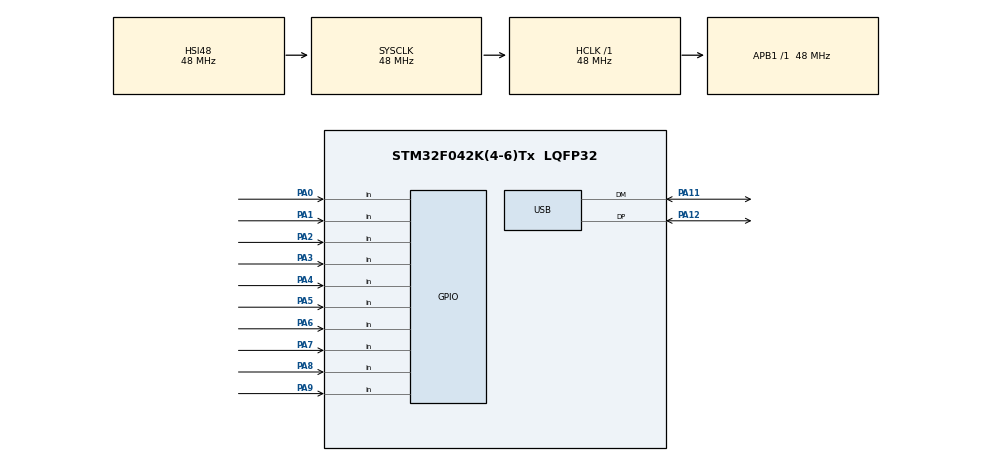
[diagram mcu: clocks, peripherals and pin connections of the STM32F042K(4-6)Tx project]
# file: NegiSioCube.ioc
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Mcu.Family=STM32F0
Mcu.Name=STM32F042K(4-6)Tx
Mcu.Package=LQFP32
NVIC.USB_IRQn=true\:0\:0\:false\:false\:true\:false
PA0.GPIO_PuPd=GPIO_PULLUP
PA0.Signal=GPIO_Input
PA1.GPIO_PuPd=GPIO_PULLUP
PA1.Signal=GPIO_Input
PA11.Mode=Device
PA11.Signal=USB_DM
PA12.Mode=Device
PA12.Signal=USB_DP
PA2.GPIO_PuPd=GPIO_PULLUP
PA2.Signal=GPIO_Input
PA3.GPIO_PuPd=GPIO_PULLUP
PA3.Signal=GPIO_Input
PA4.GPIO_PuPd=GPIO_PULLUP
PA4.Signal=GPIO_Input
PA5.GPIO_PuPd=GPIO_PULLUP
PA5.Signal=GPIO_Input
PA6.GPIO_PuPd=GPIO_PULLUP
PA6.Signal=GPIO_Input
PA7.GPIO_PuPd=GPIO_PULLUP
PA7.Signal=GPIO_Input
PA8.GPIO_PuPd=GPIO_PULLUP
PA8.Signal=GPIO_Input
PA9.GPIO_PuPd=GPIO_PULLUP
PA9.Signal=GPIO_Input
ProjectManager.HeapSize=0x200
ProjectManager.StackSize=0x400
ProjectManager.TargetToolchain=SW4STM32
RCC.AHBFreq_Value=48000000
RCC.APB1Freq_Value=48000000
RCC.APB1TimFreq_Value=48000000
RCC.HCLKFreq_Value=48000000
RCC.SYSCLKFreq_VALUE=48000000
RCC.SYSCLKSource=RCC_SYSCLKSOURCE_HSI48
USB_DEVICE.CLASS_NAME_FS=CUSTOMHID
USB_DEVICE.MANUFACTURER_STRING=JJ
USB_DEVICE.PID_CUSTOMHID_FS=0x5500
USB_DEVICE.PRODUCT_STRING_CUSTOMHID_FS=NEOGEO mini Game Pad
USB_DEVICE.USBD_SELF_POWERED=0
USB_DEVICE.VID=0x20bc
USB_DEVICE.VirtualMode=CustomHid
USB_DEVICE.VirtualModeFS=Custom_Hid_FS
VP_RCC_USB.Mode=CRS SYNC Source USB
VP_USB_DEVICE_VS_USB_DEVICE_CUSTOM_HID_FS.Mode=CUSTOM_HID_FS
board=custom

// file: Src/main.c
/* USER CODE BEGIN Header */
/**
  ******************************************************************************
  * @file           : main.c
  * @brief          : Main program body
  ******************************************************************************
  * This notice applies to any and all portions of this file
  * that are not between comment pairs USER CODE BEGIN and
  * USER CODE END. Other portions of this file, whether
  * inserted by the user or by software development tools
  * are owned by their respective copyright owners.
  *
  * Copyright (c) 2018 STMicroelectronics International N.V.
  * All rights reserved.
  *
  * Redistribution and use in source and binary forms, with or without
  * modification, are permitted, provided that the following conditions are met:
  *
  * 1. Redistribution of source code must retain the above copyright notice,
  *    this list of conditions and the following disclaimer.
  * 2. Redistributions in binary form must reproduce the above copyright notice,
  *    this list of conditions and the following disclaimer in the documentation
  *    and/or other materials provided with the distribution.
  * 3. Neither the name of STMicroelectronics nor the names of other
  *    contributors to this software may be used to endorse or promote products
  *    derived from this software without specific written permission.
  * 4. This software, including modifications and/or derivative works of this
  *    software, must execute solely and exclusively on microcontroller or
  *    microprocessor devices manufactured by or for STMicroelectronics.
  * 5. Redistribution and use of this software other than as permitted under
  *    this license is void and will automatically terminate your rights under
  *    this license.
  *
  * THIS SOFTWARE IS PROVIDED BY STMICROELECTRONICS AND CONTRIBUTORS "AS IS"
  * AND ANY EXPRESS, IMPLIED OR STATUTORY WARRANTIES, INCLUDING, BUT NOT
  * LIMITED TO, THE IMPLIED WARRANTIES OF MERCHANTABILITY, FITNESS FOR A
  * PARTICULAR PURPOSE AND NON-INFRINGEMENT OF THIRD PARTY INTELLECTUAL PROPERTY
  * RIGHTS ARE DISCLAIMED TO THE FULLEST EXTENT PERMITTED BY LAW. IN NO EVENT
  * SHALL STMICROELECTRONICS OR CONTRIBUTORS BE LIABLE FOR ANY DIRECT, INDIRECT,
  * INCIDENTAL, SPECIAL, EXEMPLARY, OR CONSEQUENTIAL DAMAGES (INCLUDING, BUT NOT
  * LIMITED TO, PROCUREMENT OF SUBSTITUTE GOODS OR SERVICES; LOSS OF USE, DATA,
  * OR PROFITS; OR BUSINESS INTERRUPTION) HOWEVER CAUSED AND ON ANY THEORY OF
  * LIABILITY, WHETHER IN CONTRACT, STRICT LIABILITY, OR TORT (INCLUDING
  * NEGLIGENCE OR OTHERWISE) ARISING IN ANY WAY OUT OF THE USE OF THIS SOFTWARE,
  * EVEN IF ADVISED OF THE POSSIBILITY OF SUCH DAMAGE.
  *
  ******************************************************************************
  */
/* USER CODE END Header */

#include "main.h"
#include "usb_device.h"

/* USER CODE BEGIN Includes */
#include "usbd_custom_hid_if.h"

/* USER CODE END Includes */

/* USER CODE BEGIN PD */
// If USE_SWD_PRINTF is defined, the target device will not work without
// ST-Link connected via SWD.
//#define USE_SWD_PRINTF

/* USER CODE END PD */

void SystemClock_Config(void);
static void MX_GPIO_Init(void);
/* USER CODE BEGIN PFP */
extern void initialise_monitor_handles(void);
extern USBD_HandleTypeDef hUsbDeviceFS;
/* USER CODE END PFP */

int main(void)
{
  /* USER CODE BEGIN 1 */
#ifdef USE_SWD_PRINTF
  initialise_monitor_handles();
#endif

  /* USER CODE END 1 */

  /* MCU Configuration--------------------------------------------------------*/

  /* Reset of all peripherals, Initializes the Flash interface and the Systick. */
  HAL_Init();

  /* Configure the system clock */
  SystemClock_Config();

  /* Initialize all configured peripherals */
  MX_GPIO_Init();
  MX_USB_DEVICE_Init();

  /* Infinite loop */
  /* USER CODE BEGIN WHILE */
  while (1)
  {
    static uint8_t report[8] = { 0x00, 0x00, 0x0f, 0x00, 0x00, 0x00, 0x00, 0x00 };
    HAL_Delay(4);
    uint32_t a = GPIOA->IDR;
    report[0] = ~(((a & 0x00c0) >> 6) | ((a & 0x0300) >> 5) | 0xe4);
    report[1] = ~(((a & 0x0003) << 2) | 0xf3);
    switch (~a & 0x3c) {
      case 0x04: report[2] = 0; break;
      case 0x24: report[2] = 1; break;
      case 0x20: report[2] = 2; break;
      case 0x28: report[2] = 3; break;
      case 0x08: report[2] = 4; break;
      case 0x18: report[2] = 5; break;
      case 0x10: report[2] = 6; break;
      case 0x14: report[2] = 7; break;
      default: report[2] = 0x0f; break;
    }
    USBD_CUSTOM_HID_SendReport(&hUsbDeviceFS, report, 8);
    /* USER CODE END WHILE */

  }
}

void SystemClock_Config(void)
{
  RCC_OscInitTypeDef RCC_OscInitStruct = {0};
  RCC_ClkInitTypeDef RCC_ClkInitStruct = {0};
  RCC_PeriphCLKInitTypeDef PeriphClkInit = {0};
  RCC_CRSInitTypeDef RCC_CRSInitStruct = {0};

  /**Initializes the CPU, AHB and APB busses clocks
  */
  RCC_OscInitStruct.OscillatorType = RCC_OSCILLATORTYPE_HSI48;
  RCC_OscInitStruct.HSI48State = RCC_HSI48_ON;
  RCC_OscInitStruct.PLL.PLLState = RCC_PLL_NONE;
  if (HAL_RCC_OscConfig(&RCC_OscInitStruct) != HAL_OK)
  {
    Error_Handler();
  }
  /**Initializes the CPU, AHB and APB busses clocks
  */
  RCC_ClkInitStruct.ClockType = RCC_CLOCKTYPE_HCLK|RCC_CLOCKTYPE_SYSCLK
                              |RCC_CLOCKTYPE_PCLK1;
  RCC_ClkInitStruct.SYSCLKSource = RCC_SYSCLKSOURCE_HSI48;
  RCC_ClkInitStruct.AHBCLKDivider = RCC_SYSCLK_DIV1;
  RCC_ClkInitStruct.APB1CLKDivider = RCC_HCLK_DIV1;

  if (HAL_RCC_ClockConfig(&RCC_ClkInitStruct, FLASH_LATENCY_1) != HAL_OK)
  {
    Error_Handler();
  }
  PeriphClkInit.PeriphClockSelection = RCC_PERIPHCLK_USB;
  PeriphClkInit.UsbClockSelection = RCC_USBCLKSOURCE_HSI48;

  if (HAL_RCCEx_PeriphCLKConfig(&PeriphClkInit) != HAL_OK)
  {
    Error_Handler();
  }
  /**Enable the SYSCFG APB clock
  */
  __HAL_RCC_CRS_CLK_ENABLE();
  /**Configures CRS
  */
  RCC_CRSInitStruct.Prescaler = RCC_CRS_SYNC_DIV1;
  RCC_CRSInitStruct.Source = RCC_CRS_SYNC_SOURCE_USB;
  RCC_CRSInitStruct.Polarity = RCC_CRS_SYNC_POLARITY_RISING;
  RCC_CRSInitStruct.ReloadValue = __HAL_RCC_CRS_RELOADVALUE_CALCULATE(48000000,1000);
  RCC_CRSInitStruct.ErrorLimitValue = 34;
  RCC_CRSInitStruct.HSI48CalibrationValue = 32;

  HAL_RCCEx_CRSConfig(&RCC_CRSInitStruct);
}

static void MX_GPIO_Init(void)
{
  GPIO_InitTypeDef GPIO_InitStruct = {0};

  /* GPIO Ports Clock Enable */
  __HAL_RCC_GPIOA_CLK_ENABLE();

  /*Configure GPIO pins : PA0 PA1 PA2 PA3
                           PA4 PA5 PA6 PA7
                           PA8 PA9 */
  GPIO_InitStruct.Pin = GPIO_PIN_0|GPIO_PIN_1|GPIO_PIN_2|GPIO_PIN_3
                          |GPIO_PIN_4|GPIO_PIN_5|GPIO_PIN_6|GPIO_PIN_7
                          |GPIO_PIN_8|GPIO_PIN_9;
  GPIO_InitStruct.Mode = GPIO_MODE_INPUT;
  GPIO_InitStruct.Pull = GPIO_PULLUP;
  HAL_GPIO_Init(GPIOA, &GPIO_InitStruct);

}

void Error_Handler(void)
{
}

/************************ (C) COPYRIGHT STMicroelectronics *****END OF FILE****/
